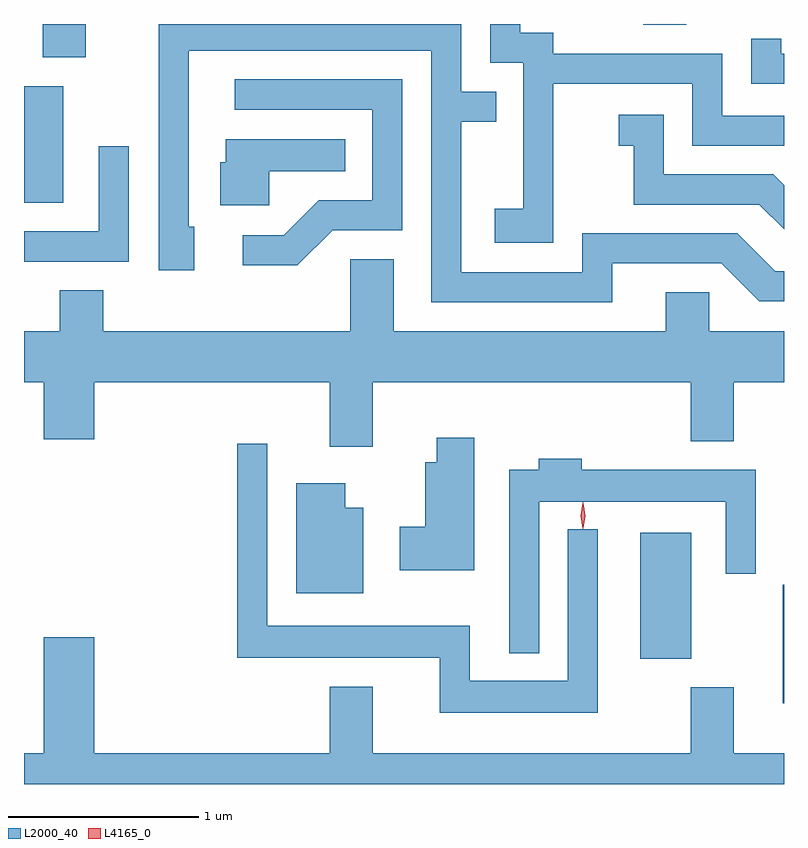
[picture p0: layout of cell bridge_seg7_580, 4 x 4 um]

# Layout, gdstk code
import gdstk
lib = gdstk.Library(unit=1e-6, precision=1e-09)
def R(c, l, rs):  # rectangles x0, y0, x1, y1
    for r in rs: c.add(gdstk.rectangle(r[:2], r[2:], *l))
def P(c, l, *ps):  # polygons
    for p in ps: c.add(gdstk.Polygon(p, *l))
L2000_40 = (2000, 40)
L4165_0 = (4165, 0)

bridge_seg7_580 = lib.new_cell('bridge_seg7_580')
R(bridge_seg7_580, L2000_40, [(638.546,1750.366,638.553,1750.99), (637.796,1750.601,638.064,1751.264), (634.553,1753.001,634.759,1753.614), (634.651,1753.766,634.879,1753.941), (637.811,1753.936,638.039,1753.941)])
P(bridge_seg7_580, L2000_40, [(637.339,1753.626),(638.071,1753.626),(638.071,1753.301),(638.553,1753.301),(638.553,1753.459),(638.229,1753.459),(638.229,1753.784),(637.339,1753.784),(637.339,1753.894),(637.164,1753.894),(637.164,1753.941),(637.006,1753.941),(637.006,1753.736),(637.181,1753.736),(637.181,1752.969),(637.031,1752.969),(637.031,1752.791),(637.339,1752.791)],
  [(637.649,1752.681),(638.224,1752.681),(638.424,1752.481),(638.553,1752.481),(638.553,1752.639),(638.507,1752.639),(638.307,1752.839),(637.491,1752.839),(637.491,1752.634),(636.854,1752.634),(636.854,1753.426),(637.038,1753.426),(637.038,1753.584),(636.854,1753.584),(636.854,1753.941),(635.261,1753.941),(635.261,1752.646),(635.449,1752.646),(635.449,1752.874),(635.419,1752.874),(635.419,1753.801),(636.696,1753.801),(636.696,1752.476),(637.649,1752.476)],
  [(638.553,1753.784),(638.539,1753.784),(638.539,1753.863),(638.381,1753.863),(638.381,1753.626),(638.553,1753.626)],
  [(636.177,1752.856),(636.544,1752.856),(636.544,1753.649),(635.663,1753.649),(635.663,1753.491),(636.386,1753.491),(636.386,1753.014),(636.104,1753.014),(635.919,1752.829),(635.703,1752.829),(635.703,1752.671),(635.992,1752.671)],
  [(638.553,1753.093),(638.497,1753.149),(637.919,1753.149),(637.919,1753.464),(637.683,1753.464),(637.683,1753.301),(637.761,1753.301),(637.761,1752.991),(638.424,1752.991),(638.553,1752.862)],
  [(635.844,1753.166),(636.243,1753.166),(636.243,1753.334),(635.616,1753.334),(635.616,1753.214),(635.586,1753.214),(635.586,1752.986),(635.844,1752.986)],
  [(635.104,1753.298),(634.946,1753.298),(634.946,1752.849),(634.553,1752.849),(634.553,1752.691),(635.104,1752.691)],
  [(636.389,1752.056),(638.061,1752.056),(638.061,1751.746),(638.289,1751.746),(638.289,1752.056),(638.553,1752.056),(638.553,1752.324),(638.159,1752.324),(638.159,1752.529),(637.931,1752.529),(637.931,1752.324),(636.499,1752.324),(636.499,1752.704),(636.271,1752.704),(636.271,1752.324),(634.969,1752.324),(634.969,1752.539),(634.741,1752.539),(634.741,1752.324),(634.553,1752.324),(634.553,1752.056),(634.656,1752.056),(634.656,1751.756),(634.924,1751.756),(634.924,1752.056),(636.161,1752.056),(636.161,1751.716),(636.389,1751.716)],
  [(636.924,1751.764),(636.726,1751.764),(636.726,1751.634),(636.666,1751.634),(636.666,1751.294),(636.531,1751.294),(636.531,1751.066),(636.924,1751.066)],
  [(637.574,1751.283),(637.416,1751.283),(637.416,1750.484),(636.899,1750.484),(636.899,1750.774),(635.834,1750.774),(635.834,1751.733),(635.676,1751.733),(635.676,1750.606),(636.741,1750.606),(636.741,1750.316),(637.574,1750.316)],
  [(637.264,1751.426),(638.246,1751.426),(638.246,1751.048),(638.404,1751.048),(638.404,1751.594),(637.489,1751.594),(637.489,1751.654),(637.261,1751.654),(637.261,1751.594),(637.106,1751.594),(637.106,1750.628),(637.264,1750.628)],
  [(636.339,1751.394),(636.244,1751.394),(636.244,1751.524),(635.986,1751.524),(635.986,1750.946),(636.339,1750.946)],
  [(638.553,1750.104),(638.289,1750.104),(638.289,1750.449),(638.061,1750.449),(638.061,1750.104),(636.389,1750.104),(636.389,1750.454),(636.161,1750.454),(636.161,1750.104),(634.924,1750.104),(634.924,1750.714),(634.656,1750.714),(634.656,1750.104),(634.553,1750.104),(634.553,1749.941),(638.553,1749.941)])
P(bridge_seg7_580, L4165_0, [(637.497,1751.287),(637.496,1751.288),(637.487,1751.354),(637.496,1751.42),(637.497,1751.421),(637.497,1751.42),(637.507,1751.354),(637.497,1751.288)],
  [(637.494,1751.284),(637.494,1751.284),(637.484,1751.353),(637.494,1751.422),(637.494,1751.423),(637.495,1751.422),(637.504,1751.353),(637.495,1751.284)])

lib.write_gds('bridge_seg7_580.gds')
